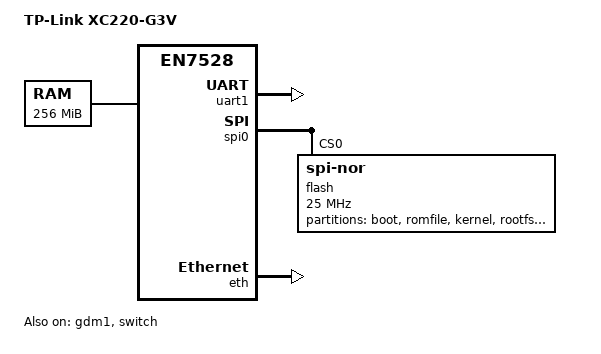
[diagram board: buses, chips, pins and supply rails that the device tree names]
// SPDX-License-Identifier: GPL-2.0
/dts-v1/;

#include "econet,en7528.dtsi"

/ {
	model = "TP-Link XC220-G3V";
	compatible = "tplink,xc220-g3v", "econet,en7528", "airoha,en7528";

	memory@0 {
		device_type = "memory";
		reg = <0x00000000 0x10000000>;
	};

	chosen {
		stdout-path = "serial0:115200n8";
	};
};

&uart1 {
	status = "okay";
};

&spi0 {
	status = "okay";

	flash@0 {
		compatible = "jedec,spi-nor";
		reg = <0>;
		spi-max-frequency = <25000000>;
		spi-tx-bus-width = <1>;
		spi-rx-bus-width = <1>;

		partitions {
			compatible = "fixed-partitions";
			#address-cells = <1>;
			#size-cells = <1>;

			partition@0 {
				label = "boot";
				reg = <0x00000000 0x00040000>;
				read-only;
			};

			partition@40000 {
				label = "romfile";
				reg = <0x00040000 0x00010000>;
			};

			partition@50000 {
				label = "kernel";
				reg = <0x00050000 0x00220000>;
			};

			partition@270000 {
				label = "rootfs";
				reg = <0x00270000 0x00cd0000>;
			};

			partition@f40000 {
				label = "misc";
				reg = <0x00f40000 0x000c0000>;
			};
		};
	};
};

&eth { status = "okay"; };
&gdm1 { status = "okay"; };
&switch { status = "okay"; };
